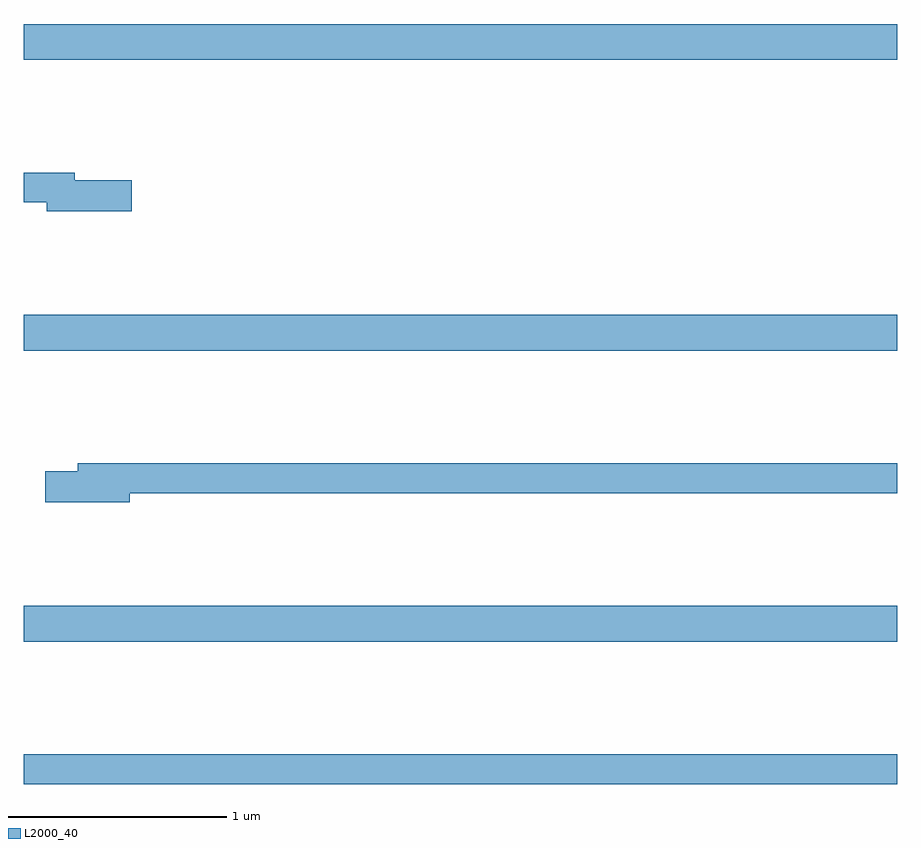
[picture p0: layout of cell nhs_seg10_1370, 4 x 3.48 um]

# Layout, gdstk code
import gdstk
lib = gdstk.Library(unit=1e-6, precision=1e-09)
def R(c, l, rs):  # rectangles x0, y0, x1, y1
    for r in rs: c.add(gdstk.rectangle(r[:2], r[2:], *l))
def A(c, l, x, y, w, h, nx, ny, dx, dy):  # array of equal rectangles
    R(c, l, [(x+i*dx, y+j*dy, x+i*dx+w, y+j*dy+h) for i in range(nx) for j in range(ny)])
def P(c, l, *ps):  # polygons
    for p in ps: c.add(gdstk.Polygon(p, *l))
L2000_40 = (2000, 40)

nhs_seg10_1370 = lib.new_cell('nhs_seg10_1370')
A(nhs_seg10_1370, L2000_40, 181, 1317.632, 4, 0.164, 1, 3, 0, 1.332)
R(nhs_seg10_1370, L2000_40, [(181,1316.98,185,1317.116)])
P(nhs_seg10_1370, L2000_40, [(181.495,1319.744),(181.234,1319.744),(181.234,1319.78),(181,1319.78),(181,1319.644),(181.106,1319.644),(181.106,1319.602),(181.495,1319.602)],
  [(181.486,1318.312),(185,1318.312),(185,1318.448),(181.247,1318.448),(181.247,1318.412),(181.098,1318.412),(181.098,1318.27),(181.486,1318.27)])

lib.write_gds('nhs_seg10_1370.gds')
